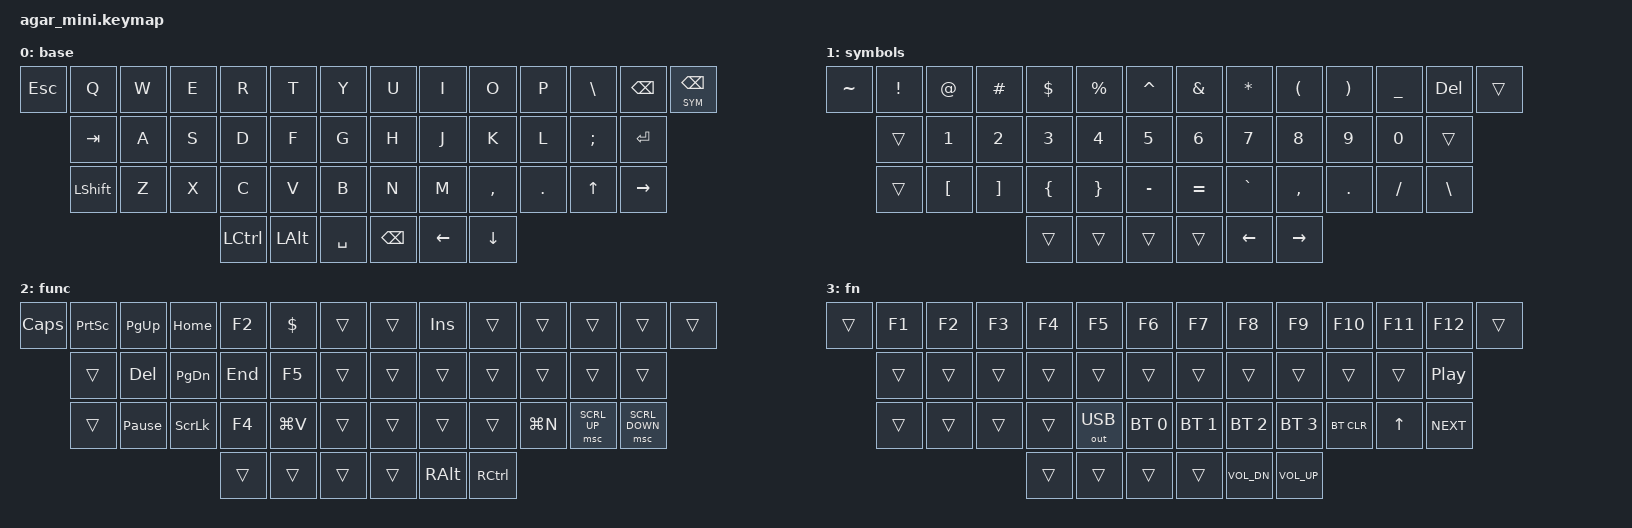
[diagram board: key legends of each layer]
// Copyright (c) 2024 The ZMK Contributors
// SPDX-License-Identifier: MIT

#include <behaviors.dtsi>
#include <dt-bindings/zmk/keys.h>
#include <dt-bindings/zmk/bt.h>
#include <dt-bindings/zmk/outputs.h>

#define BASE  0
#define SYM   1
#define FUNC  2
#define FN    3

//
// ---------- Agar mini key switch positions ----------
//
// -------------------------------------------------------------------------------------------
// |  0  |  1  |  2  |  3  |  4  |  5  |  6  |  7  |  8  |  9  | 10  | 11  | 12  | 13  |
// -------------------------------------------------------------------------------------------
// |  14   | 15 |  16 |  17 |  18 |  19 |  20 |  21 |  22 |  23 |  24  |      25       |
// -------------------------------------------------------------------------------------------
// |    26    |  27 |  28 |  29 |  30 |  31 |  32 |  33 |  34 |  35 |    36    |  37   |
// -------------------------------------------------------------------------------------------
//    | 38  |   39   |          40          |          41          |   42   |  43  |
// -------------------------------------------------------------------------------------------
//


/ {
    combos {
        compatible = "zmk,combos";

        // BACKSPACE + CTRL = &sys_reset
        combo_sys_reset {
            timeout-ms = <100>;
            key-positions = <12 37>;
            bindings = <&sys_reset>;
        };

        // ENTER + CTRL = &bootloader
        combo_bootloader {
            timeout-ms = <100>;
            key-positions = <24 37>;
            bindings = <&bootloader>;
        };
    };


    keymap {
        compatible = "zmk,keymap";

        base {

// --------- Default QWERTY Layout ---------
// Layer 0 BASE
// -------------------------------------------------------------------------------------------
// | ESC |  Q  |  W  |  E  |  R  |  T  |  Y  |  U  |  I  |  O  |  P  | |\  | BSPC |
// -------------------------------------------------------------------------------------------
// |  TAB   |  A  |  S  |  D  |  F  |  G  |  H  |  J  |  K  |  L  | ; : |  ENTER  |
// -------------------------------------------------------------------------------------------
// |  SHIFT  |  Z  |  X  |  C  |  V  |  B  |  N  |  M  |  ,  |  .  |  ↑   |    →    |
// -------------------------------------------------------------------------------------------
//     | CTRL|  ALT  |        SPACE         |        BSPC         |   ←  |   ↓  |
// -------------------------------------------------------------------------------------------
            bindings = <
&kp ESC  &kp Q   &kp W   &kp E   &kp R   &kp T   &kp Y   &kp U   &kp I     &kp O    &kp P     &kp BSLH    &kp BSPC  &lt SYM BSPC
&kp TAB   &kp A   &kp S   &kp D   &kp F   &kp G   &kp H   &kp J   &kp K     &kp L    &kp SEMI       &kp ENTER
&kp LSHFT   &kp Z   &kp X   &kp C   &kp V   &kp B   &kp N   &kp M   &kp COMMA &kp DOT  &kp UP        &kp RIGHT
&kp LCTRL  &kp LALT        &kp SPACE                &kp BSPC        &kp LEFT &kp DOWN
            >;
        };

        symbols {
// --------- Symbols & Numbers Layer ---------
// Layer 1 SYM
// -------------------------------------------------------------------------------------------
// |  ~  |  !  |  @  |  #  |  $  |  %  |  ^  |  &  |  *  |  (  |  )  |  _  | DEL  | --- |
// -------------------------------------------------------------------------------------------
// |   ---  |  1  |  2  |  3  |  4  |  5  |  6  |  7  |  8  |  9  |  0  |   ---   |
// -------------------------------------------------------------------------------------------
// |   ---   |  [  |  ]  |  {  |  }  |  -  |  =  |  `  |  ,  |  .  |  /   |    \    |
// -------------------------------------------------------------------------------------------
//     | --- |  ---  |         ---          |         ---         |  ←   |  →   |
// -------------------------------------------------------------------------------------------
            bindings = <
&kp TILDE  &kp EXCL  &kp AT  &kp HASH  &kp DLLR  &kp PRCNT  &kp CARET  &kp AMPS  &kp STAR  &kp LPAR  &kp RPAR  &kp UNDER  &kp DEL  &trans
&trans      &kp N1    &kp N2  &kp N3    &kp N4    &kp N5     &kp N6     &kp N7    &kp N8    &kp N9    &kp N0        &trans
&trans        &kp LBKT  &kp RBKT  &kp LBRC  &kp RBRC  &kp MINUS  &kp EQUAL  &kp GRAVE  &kp COMMA  &kp DOT  &kp FSLH     &kp BSLH
&trans     &trans             &trans                         &trans              &kp LEFT    &kp RIGHT
            >;
        };

        func {
// --------- Function & Media Layer ---------
// Layer 2 FUNC
// -------------------------------------------------------------------------------------------
// | CAPS |PRSCR|PGUP |HOME | F2  |  $  | --- | --- | INS | --- | --- | --- | --- | --- |
// -------------------------------------------------------------------------------------------
// |   ---  | DEL |PGDN | END | F5  | --- | --- | --- | --- | --- | --- |   ---   |
// -------------------------------------------------------------------------------------------
// |   ---   |PAUSE| SCL | F4  | W+V | --- | --- | --- | --- |nWIN |   MW↑   |   MW↓   |
// -------------------------------------------------------------------------------------------
//     | --- |  ---  |         ---          |         ---         | rALT | rCTRL|
// -------------------------------------------------------------------------------------------
            bindings = <
&kp CLCK  &kp PSCRN  &kp PG_UP  &kp HOME  &kp F2  &kp DLLR  &trans  &trans  &kp INS   &trans    &trans      &trans   &trans  &trans
&trans     &kp DEL    &kp PG_DN  &kp END   &kp F5  &trans    &trans  &trans  &trans    &trans    &trans          &trans
&trans       &kp PAUSE_BREAK  &kp SLCK  &kp F4  &kp LG(V)  &trans  &trans  &trans  &trans  &kp LG(N)  &msc SCRL_UP  &msc SCRL_DOWN
&trans     &trans                       &trans                    &trans            &kp RALT  &kp RCTRL
            >;
        };

        fn {
// --------- F-Keys & Bluetooth Layer ---------
// Layer 3 FN
// -------------------------------------------------------------------------------------------
// | --- | F1  | F2  | F3  | F4  | F5  | F6  | F7  | F8  | F9  | F10 | F11 | F12 | --- |
// -------------------------------------------------------------------------------------------
// |   ---  | --- | --- | --- | --- | --- | --- | --- | --- | --- | --- |   PLAY  |
// -------------------------------------------------------------------------------------------
// |   ---   | --- | --- | --- | USB | BT0 | BT1 | BT2 | BT3 |BTCLR|   ↑   |   NEXT  |
// -------------------------------------------------------------------------------------------
//     | --- |  ---  |         ---          |         ---         | VOL- | VOL+ |
// -------------------------------------------------------------------------------------------
            bindings = <
&trans  &kp F1  &kp F2  &kp F3  &kp F4  &kp F5  &kp F6  &kp F7  &kp F8  &kp F9  &kp F10  &kp F11    &kp F12  &trans
&trans   &trans  &trans  &trans  &trans  &trans  &trans  &trans  &trans  &trans  &trans       &kp C_PP
&trans     &trans  &trans  &trans  &out OUT_USB  &bt BT_SEL 0  &bt BT_SEL 1  &bt BT_SEL 2  &bt BT_SEL 3  &bt BT_CLR  &kp UP    &kp C_NEXT
&trans   &trans                 &trans                  &trans            &kp C_VOL_DN  &kp C_VOL_UP
            >;
        };
    };
};

